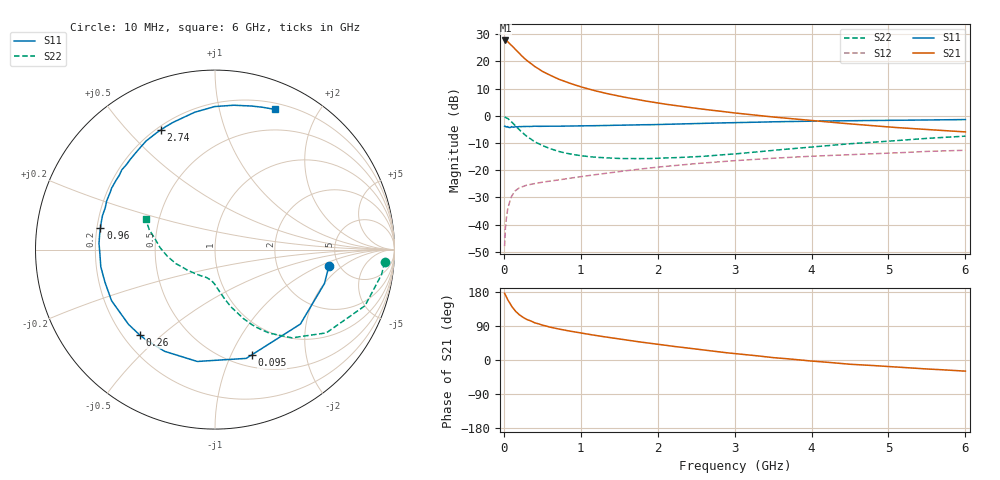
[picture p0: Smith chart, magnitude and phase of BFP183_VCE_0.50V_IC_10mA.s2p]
! Infineon Technologies  Discrete & RF Semiconductors
! BFP183
! VCE = 0.50V,  IC =  10 mA
! Common Emitter S-Parameters:  Jan 2016
# GHz  S  MA  R  50
!  f  S11  S21  S12  S22
! GHz  MAG  ANG  MAG  ANG  MAG  ANG  MAG  ANG
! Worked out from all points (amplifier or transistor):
!   210 points, 10 MHz to 6 GHz, reference 50 ohm
!   highest |S21| = 27.7 dB at 20 MHz (marker M1)
!   |S21| within 3 dB of that: start of sweep to 140.4 MHz
!   unconditionally stable (mu >= 1): 829.6 MHz to end of sweep
!   at 185 MHz: K = 0.31, MSG = 25.1 dB, |S12| = -26.8 dB
!   at 1.52 GHz: K = 1.29, MAG = 10.6 dB, |S12| = -20.4 dB
!   at 6 GHz: K = 1.18, MAG = 0.8 dB, |S12| = -12.7 dB
!   S11 on the Smith chart (normalised r, x): 10 MHz: 4.14, -1.30; 95 MHz: 0.63, -1.20; 260 MHz: 0.27, -0.43; 960 MHz: 0.21, +0.09; 2.74 GHz: 0.22, +0.63; 6 GHz: 0.26, +1.49
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0.01  0.6414 -8.3  24.16 175.9  0.004 85.5  0.9475 -4.2
0.02  0.6383 -17.3  24.2 171.7  0.0085 81.0  0.9385 -8.5
0.05  0.6312 -41.1  22.99 158.9  0.0191 73.7  0.8924 -20.5
0.095  0.6214 -70.8  19.97 143.8  0.0314 58.5  0.7831 -35.0
0.1  0.6305 -74.0  19.73 141.9  0.0329 57.5  0.7745 -36.8
0.15  0.6311 -99.0  16.61 128.8  0.0419 48.3  0.6524 -48.9
0.2  0.6326 -116.4  14.01 119.5  0.0471 42.5  0.5536 -57.1
0.26  0.6343 -131.2  11.59 111.3  0.0507 38.4  0.4648 -63.9
0.3  0.637 -139.2  10.34 106.8  0.0531 36.5  0.4157 -67.6
0.4  0.6428 -153.7  8.065 98.2  0.0565 34.2  0.3331 -74.2
0.5  0.6395 -163.6  6.555 92.1  0.0601 33.2  0.2834 -78.6
0.6  0.6434 -171.5  5.569 86.7  0.0628 33.8  0.2486 -82.2
0.7  0.6415 -177.6  4.769 82.3  0.0657 34.1  0.223 -85.3
0.96  0.6497 169.3  3.548 72.6  0.0744 35.8  0.1881 -91.7
1.02  0.6518 166.6  3.339 70.4  0.0765 36.0  0.1829 -93.2
1.5  0.6701 149.3  2.284 55.3  0.0943 37.5  0.1635 -104.8
2.02  0.6902 132.9  1.695 41.0  0.1142 36.1  0.1659 -118.3
2.74  0.7328 114.2  1.245 22.7  0.14 31.6  0.1866 -139.8
3.1  0.7504 106.1  1.087 15.0  0.1524 29.0  0.2042 -150.6
4.1  0.7987 88.6  0.792 -4.3  0.1824 20.9  0.2741 -174.0
5.1  0.8252 75.8  0.607 -18.4  0.2072 13.7  0.3486 168.2
6  0.8501 66.7  0.504 -29.4  0.2318 5.6  0.4216 156.3
